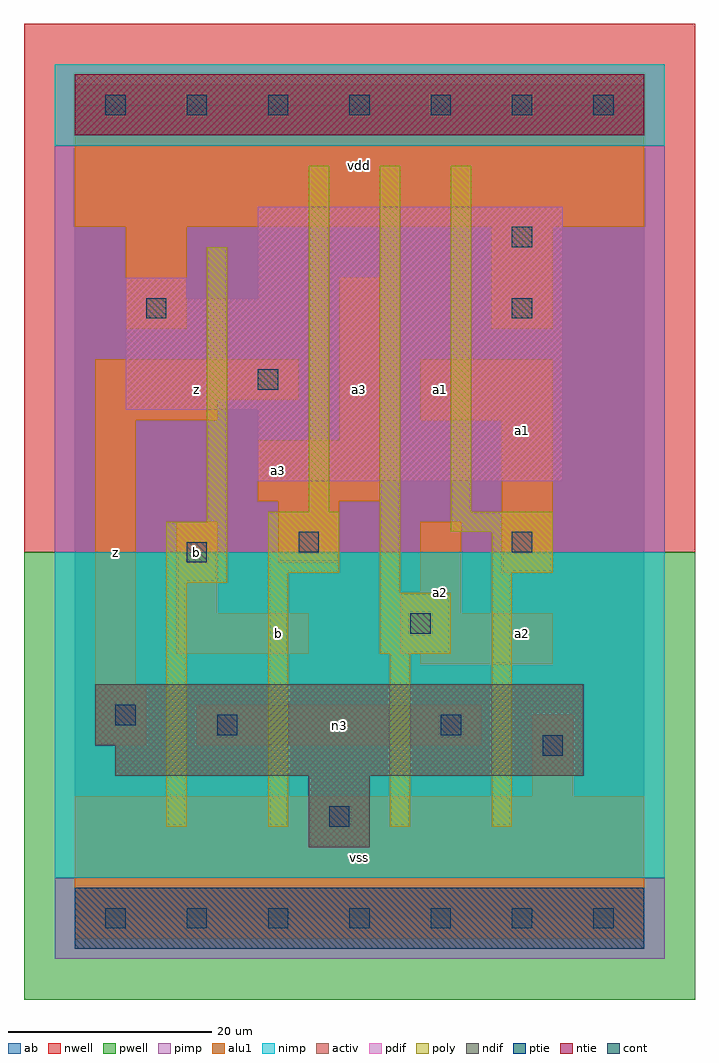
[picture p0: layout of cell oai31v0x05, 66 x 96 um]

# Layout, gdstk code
import gdstk
lib = gdstk.Library(unit=1e-6, precision=1e-09)
def R(c, l, rs):  # rectangles x0, y0, x1, y1
    for r in rs: c.add(gdstk.rectangle(r[:2], r[2:], *l))
def A(c, l, x, y, w, h, nx, ny, dx, dy):  # array of equal rectangles
    R(c, l, [(x+i*dx, y+j*dy, x+i*dx+w, y+j*dy+h) for i in range(nx) for j in range(ny)])
ndif = (3, 0)
pdif = (4, 0)
ntie = (5, 0)
ptie = (6, 0)
cont = (25, 0)
pwell = (41, 0)
nwell = (42, 0)
activ = (43, 0)
pimp = (44, 0)
nimp = (45, 0)
poly = (46, 0)
alu1 = (49, 0)
ab = (63, 0)

oai31v0x05 = lib.new_cell('oai31v0x05')
R(oai31v0x05, ndif, [(23,7,29,14), (4,14,50,17), (2,17,50,23)])
R(oai31v0x05, pdif, [(18,43,48,50), (5,50,48,61), (5,61,11,63), (18,61,48,70)])
R(oai31v0x05, ntie, [(0,77,56,83)])
R(oai31v0x05, ptie, [(0,-3,56,3)])
A(oai31v0x05, cont, 3, -1, 2, 2, 7, 2, 8, 80)
R(oai31v0x05, cont, [(25,9,27,11), (46,16,48,18), (14,18,16,20), (36,18,38,20), (4,19,6,21), (33,28,35,30), (11,35,13,37), (22,36,24,38), (43,36,45,38), (18,52,20,54), (7,59,9,61), (43,59,45,61), (43,66,45,68)])
R(oai31v0x05, pwell, [(-5,-8,61,36)])
R(oai31v0x05, nwell, [(-5,36,61,88)])
R(oai31v0x05, activ, [(0,-3,56,3), (23,7,29,14), (4,14,50,17), (2,17,50,23), (18,43,48,50), (5,50,48,61), (5,61,11,63), (18,61,48,70), (0,77,56,83)])
R(oai31v0x05, pimp, [(-2,-4,58,4), (-2,36,58,76)])
R(oai31v0x05, nimp, [(-2,4,58,36), (-2,76,58,84)])
R(oai31v0x05, poly, [(9,9,11,33), (19,9,21,34), (31,9,33,26), (41,9,43,34), (30,26,37,32), (30,32,32,74), (9,33,15,39), (19,34,26,40), (41,34,47,38), (37,38,47,40), (13,39,15,66), (23,40,25,74), (37,40,39,74)])
R(oai31v0x05, alu1, [(0,-2,56,12), (45,12,49,20), (2,17,7,23), (12,17,40,21), (2,23,6,49), (34,25,47,26), (10,26,23,30), (32,26,47,30), (10,30,14,39), (32,30,38,32), (34,32,38,39), (42,34,47,49), (20,35,26,41), (18,41,30,47), (26,47,30,63), (2,49,14,51), (34,49,47,55), (2,51,22,55), (5,58,11,68), (41,58,47,68), (0,68,56,82)])
R(oai31v0x05, ab, [(0,0,56,80)])
oai31v0x05.add(gdstk.Label('n3', (26,19), layer=49, texttype=0))
oai31v0x05.add(gdstk.Label('z', (4,36), layer=49, texttype=0))
oai31v0x05.add(gdstk.Label('b', (12,36), layer=49, texttype=0))
oai31v0x05.add(gdstk.Label('b', (20,28), layer=49, texttype=0))
oai31v0x05.add(gdstk.Label('a3', (20,44), layer=49, texttype=0))
oai31v0x05.add(gdstk.Label('z', (12,52), layer=49, texttype=0))
oai31v0x05.add(gdstk.Label('vss', (28,6), layer=49, texttype=0))
oai31v0x05.add(gdstk.Label('a2', (36,32), layer=49, texttype=0))
oai31v0x05.add(gdstk.Label('a3', (28,52), layer=49, texttype=0))
oai31v0x05.add(gdstk.Label('a1', (36,52), layer=49, texttype=0))
oai31v0x05.add(gdstk.Label('vdd', (28,74), layer=49, texttype=0))
oai31v0x05.add(gdstk.Label('a2', (44,28), layer=49, texttype=0))
oai31v0x05.add(gdstk.Label('a1', (44,48), layer=49, texttype=0))

lib.write_gds('oai31v0x05.gds')
